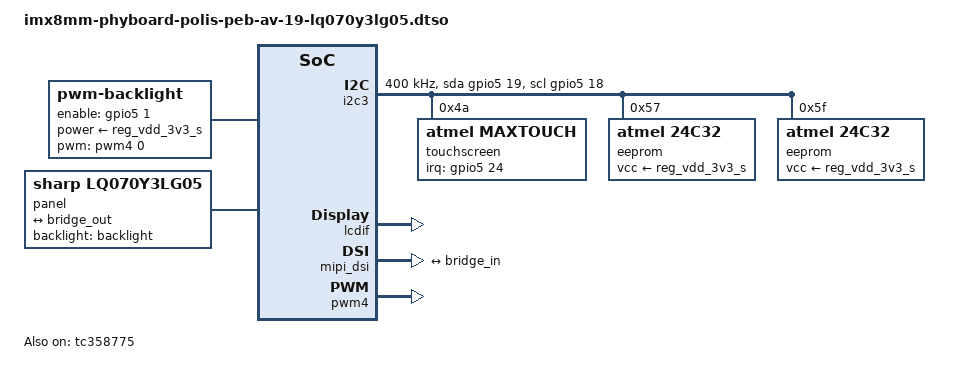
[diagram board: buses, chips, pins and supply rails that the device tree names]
// SPDX-License-Identifier: (GPL-2.0-or-later OR MIT)
/*
 * Copyright (C) 2025 PHYTEC Messtechnik GmbH
 */

/dts-v1/;
/plugin/;

#include <dt-bindings/clock/imx8mm-clock.h>
#include <dt-bindings/interrupt-controller/irq.h>
#include <dt-bindings/gpio/gpio.h>
#include "imx8mm-pinfunc.h"

&{/} {
	backlight: backlight {
		compatible = "pwm-backlight";
		pinctrl-names = "default";
		pinctrl-0 = <&pinctrl_lcd>;
		default-brightness-level = <6>;
		pwms = <&pwm4 0 50000 0>;
		power-supply = <&reg_vdd_3v3_s>;
		enable-gpios = <&gpio5 1 GPIO_ACTIVE_HIGH>;
		brightness-levels= <0 4 8 16 32 64 128 255>;
	};

	panel {
		compatible = "sharp,lq070y3lg05", "panel-lvds";
		backlight = <&backlight>;

		width-mm = <154>;
		height-mm = <87>;

		data-mapping = "vesa-24";

		panel-timing {
			clock-frequency = <33000000>;
			hactive = <800>;
			vactive = <480>;
			hsync-len = <48>;
			hfront-porch = <40>;
			hback-porch = <40>;
			vsync-len = <3>;
			vfront-porch = <13>;
			vback-porch = <29>;
		};

		port {
			panel_in: endpoint {
				remote-endpoint = <&bridge_out>;
			};
		};
	};
};

&i2c3 {
	clock-frequency = <400000>;
	pinctrl-names = "default", "gpio";
	pinctrl-0 = <&pinctrl_i2c3>;
	pinctrl-1 = <&pinctrl_i2c3_gpio>;
	sda-gpios = <&gpio5 19 (GPIO_ACTIVE_HIGH | GPIO_OPEN_DRAIN)>;
	scl-gpios = <&gpio5 18 (GPIO_ACTIVE_HIGH | GPIO_OPEN_DRAIN)>;
	#address-cells = <1>;
	#size-cells = <0>;
	status = "okay";

	touchscreen@4a {
		compatible = "atmel,maxtouch";
		pinctrl-names = "default";
		pinctrl-0 = <&pinctrl_ts>;
		reg = <0x4a>;
		interrupt-parent = <&gpio5>;
		interrupts = <24 IRQ_TYPE_LEVEL_LOW>;
	};

	eeprom@57 {
		compatible = "atmel,24c32";
		pagesize = <32>;
		reg = <0x57>;
		vcc-supply = <&reg_vdd_3v3_s>;
	};

	eeprom@5f {
		compatible = "atmel,24c32";
		pagesize = <32>;
		reg = <0x5f>;
		size = <32>;
		vcc-supply = <&reg_vdd_3v3_s>;
	};
};

&lcdif {
	status = "okay";
};

&mipi_dsi {
	#address-cells = <1>;
	#size-cells = <0>;
	status = "okay";

	port@1 {
		reg = <1>;
		dsi_out: endpoint {
			attach-bridge;
			remote-endpoint = <&bridge_in>;
		};
	};
};

&pwm4 {
	pinctrl-names = "default";
	pinctrl-0 = <&pinctrl_pwm4>;
	status = "okay";
};

&tc358775 {
	status = "okay";

	ports {
		#address-cells = <1>;
		#size-cells = <0>;

		port@0 {
			reg = <0>;
			bridge_in: endpoint {
				remote-endpoint = <&dsi_out>;
				data-lanes = <1 2 3 4>;
			};
		};

		port@1 {
			reg = <1>;
			bridge_out: endpoint {
				remote-endpoint = <&panel_in>;
			};
		};
	};
};

&iomuxc {
	pinctrl_i2c3: i2c3grp {
		fsl,pins = <
			MX8MM_IOMUXC_I2C3_SCL_I2C3_SCL	  0x400001c2
			MX8MM_IOMUXC_I2C3_SDA_I2C3_SDA	  0x400001c2
		>;
	};

	pinctrl_i2c3_gpio: i2c3gpiogrp {
		fsl,pins = <
			MX8MM_IOMUXC_I2C3_SCL_GPIO5_IO18        0x1e2
			MX8MM_IOMUXC_I2C3_SDA_GPIO5_IO19        0x1e2
		>;
	};

	pinctrl_lcd: lcd0grp {
		fsl,pins = <
			MX8MM_IOMUXC_SAI3_TXD_GPIO5_IO1		0x12
		>;
	};

	pinctrl_ts: tsgrp {
		fsl,pins = <
			MX8MM_IOMUXC_UART2_RXD_GPIO5_IO24       0x12
		>;
	};

	pinctrl_pwm4: pwm4grp {
		fsl,pins = <
			MX8MM_IOMUXC_SAI3_MCLK_PWM4_OUT		0x12
		>;
	};
};
